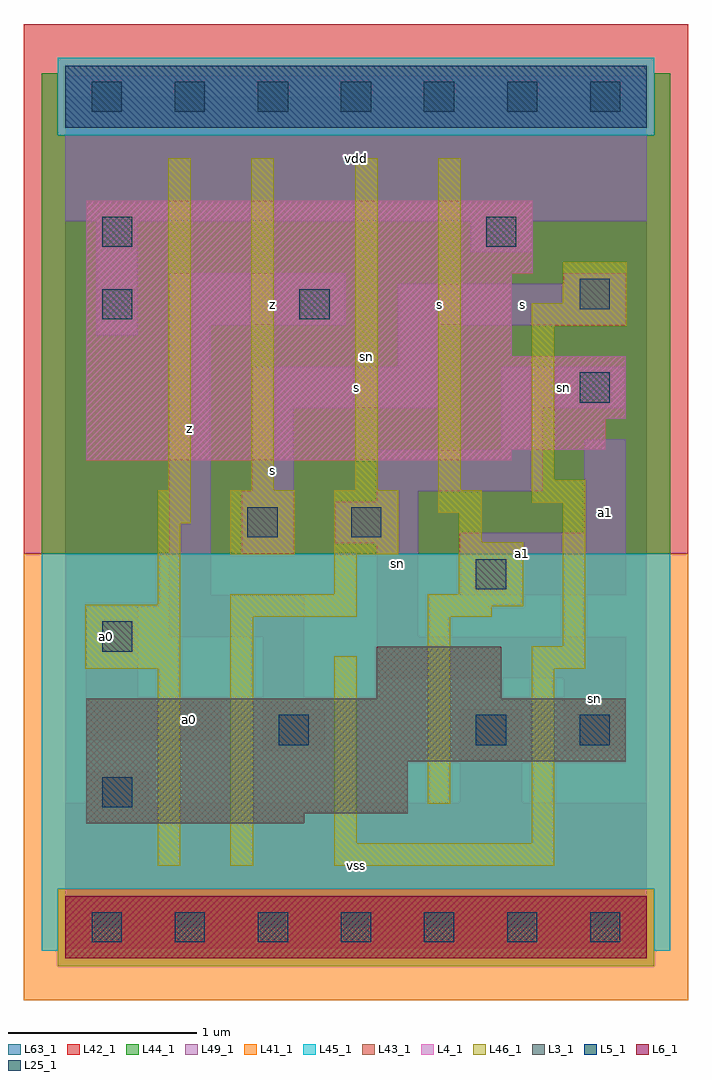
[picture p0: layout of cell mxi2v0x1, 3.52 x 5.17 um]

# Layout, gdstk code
import gdstk
lib = gdstk.Library(unit=1e-6, precision=1e-09)
def R(c, l, rs):  # rectangles x0, y0, x1, y1
    for r in rs: c.add(gdstk.rectangle(r[:2], r[2:], *l))
def A(c, l, x, y, w, h, nx, ny, dx, dy):  # array of equal rectangles
    R(c, l, [(x+i*dx, y+j*dy, x+i*dx+w, y+j*dy+h) for i in range(nx) for j in range(ny)])
L3_1 = (3, 1)
L4_1 = (4, 1)
L5_1 = (5, 1)
L6_1 = (6, 1)
L25_1 = (25, 1)
L41_1 = (41, 1)
L42_1 = (42, 1)
L43_1 = (43, 1)
L44_1 = (44, 1)
L45_1 = (45, 1)
L46_1 = (46, 1)
L49_1 = (49, 1)
L63_1 = (63, 1)

mxi2v0x1 = lib.new_cell('mxi2v0x1')
R(mxi2v0x1, L3_1, [(0.11,0.55,1.265,0.605), (0.11,0.605,1.815,0.88), (0.11,0.88,2.97,1.21), (1.65,1.21,2.31,1.485)])
R(mxi2v0x1, L4_1, [(0.11,2.475,2.365,2.53), (0.11,2.53,2.86,2.695), (0.11,2.695,2.97,3.025), (0.11,3.025,2.365,3.465), (0.11,3.465,2.475,3.85)])
R(mxi2v0x1, L5_1, [(0,4.235,3.08,4.565)])
R(mxi2v0x1, L6_1, [(0,-0.165,3.08,0.165)])
A(mxi2v0x1, L25_1, 0.14, -0.08, 0.16, 0.16, 7, 2, 0.44, 4.4)
R(mxi2v0x1, L25_1, [(0.195,0.635,0.355,0.795), (1.13,0.965,1.29,1.125), (2.175,0.965,2.335,1.125), (2.725,0.965,2.885,1.125), (0.195,1.46,0.355,1.62), (2.175,1.79,2.335,1.95), (0.965,2.065,1.125,2.225), (1.515,2.065,1.675,2.225), (2.725,2.78,2.885,2.94), (0.195,3.22,0.355,3.38), (1.24,3.22,1.4,3.38), (2.725,3.275,2.885,3.435), (0.195,3.605,0.355,3.765), (2.23,3.605,2.39,3.765)])
R(mxi2v0x1, L41_1, [(-0.22,-0.385,3.3,1.98)])
R(mxi2v0x1, L42_1, [(-0.22,1.98,3.3,4.785)])
R(mxi2v0x1, L43_1, [(0,-0.165,3.08,0.165), (0.11,0.55,1.265,0.605), (0.11,0.605,1.815,0.88), (0.11,0.88,2.97,1.21), (1.65,1.21,2.31,1.485), (0.11,2.475,2.365,2.53), (0.11,2.53,2.86,2.695), (0.11,2.695,2.97,3.025), (0.11,3.025,2.365,3.465), (0.11,3.465,2.475,3.85), (0,4.235,3.08,4.565)])
R(mxi2v0x1, L44_1, [(-0.04,-0.205,3.12,0.205), (-0.125,1.98,3.205,4.195), (-0.125,4.195,-0.04,4.525), (3.12,4.195,3.205,4.525)])
R(mxi2v0x1, L45_1, [(-0.125,-0.125,-0.04,0.205), (3.12,-0.125,3.205,0.205), (-0.125,0.205,3.205,1.98), (-0.04,4.195,3.12,4.605)])
R(mxi2v0x1, L46_1, [(0.49,0.325,0.61,1.37), (0.875,0.325,0.995,1.645), (1.425,0.325,2.59,0.445), (1.425,0.445,1.545,1.435), (2.47,0.445,2.59,1.37), (1.92,0.655,2.04,1.645), (0.105,1.37,0.61,1.71), (2.47,1.37,2.755,1.49), (2.635,1.49,2.755,2.25), (0.875,1.645,1.545,1.765), (1.92,1.645,2.26,1.7), (1.92,1.7,2.425,1.765), (0.49,1.71,0.61,2.14), (1.425,1.765,1.545,1.975), (2.085,1.765,2.425,2.04), (0.875,1.975,1.215,2.315), (1.425,1.975,1.765,2.315), (2.085,2.04,2.205,2.195), (0.49,2.14,0.665,2.315), (1.975,2.195,2.205,2.315), (2.47,2.25,2.755,2.37), (0.545,2.315,0.665,4.075), (0.985,2.315,1.105,4.075), (1.535,2.315,1.655,4.075), (1.975,2.315,2.095,4.075), (2.47,2.37,2.59,3.185), (2.47,3.185,2.975,3.305), (2.635,3.305,2.975,3.525)])
R(mxi2v0x1, L49_1, [(0,-0.11,3.08,0.66), (0.11,0.66,0.44,0.825), (2.09,0.66,2.42,1.155), (1.045,0.935,1.375,1.155), (2.64,0.935,2.97,1.32), (0.11,0.99,0.825,1.21), (1.045,1.155,1.265,1.54), (0.11,1.21,0.385,1.705), (1.65,1.32,2.97,1.54), (0.55,1.54,1.265,1.76), (1.65,1.54,1.87,2.035), (0.55,1.76,0.77,3.19), (2.09,1.76,2.97,2.09), (0.935,1.98,1.21,2.31), (1.43,2.035,1.87,2.255), (2.75,2.09,2.97,2.585), (1.65,2.255,1.87,2.31), (0.99,2.31,1.21,2.75), (1.65,2.31,2.53,2.53), (2.31,2.53,2.53,2.75), (0.99,2.75,1.98,2.97), (2.31,2.75,2.97,2.97), (1.76,2.97,1.98,3.19), (0.165,3.135,0.385,3.74), (0.55,3.19,1.485,3.465), (1.76,3.19,2.97,3.41), (2.64,3.41,2.97,3.465), (2.145,3.575,2.475,3.74), (0,3.74,3.08,4.51)])
R(mxi2v0x1, L63_1, [(0,0,3.08,4.4)])
mxi2v0x1.add(gdstk.Label('sn', (1.595,3.025), layer=46, texttype=1))
mxi2v0x1.add(gdstk.Label('a0', (0.22,1.54), layer=49, texttype=1))
mxi2v0x1.add(gdstk.Label('a0', (0.66,1.1), layer=49, texttype=1))
mxi2v0x1.add(gdstk.Label('z', (0.66,2.64), layer=49, texttype=1))
mxi2v0x1.add(gdstk.Label('vss', (1.54,0.33), layer=49, texttype=1))
mxi2v0x1.add(gdstk.Label('sn', (1.76,1.925), layer=49, texttype=1))
mxi2v0x1.add(gdstk.Label('s', (1.1,2.42), layer=49, texttype=1))
mxi2v0x1.add(gdstk.Label('s', (1.54,2.86), layer=49, texttype=1))
mxi2v0x1.add(gdstk.Label('z', (1.1,3.3), layer=49, texttype=1))
mxi2v0x1.add(gdstk.Label('vdd', (1.54,4.07), layer=49, texttype=1))
mxi2v0x1.add(gdstk.Label('a1', (2.42,1.98), layer=49, texttype=1))
mxi2v0x1.add(gdstk.Label('s', (1.98,3.3), layer=49, texttype=1))
mxi2v0x1.add(gdstk.Label('s', (2.42,3.3), layer=49, texttype=1))
mxi2v0x1.add(gdstk.Label('sn', (2.805,1.21), layer=49, texttype=1))
mxi2v0x1.add(gdstk.Label('a1', (2.86,2.2), layer=49, texttype=1))
mxi2v0x1.add(gdstk.Label('sn', (2.64,2.86), layer=49, texttype=1))

lib.write_gds('mxi2v0x1.gds')
